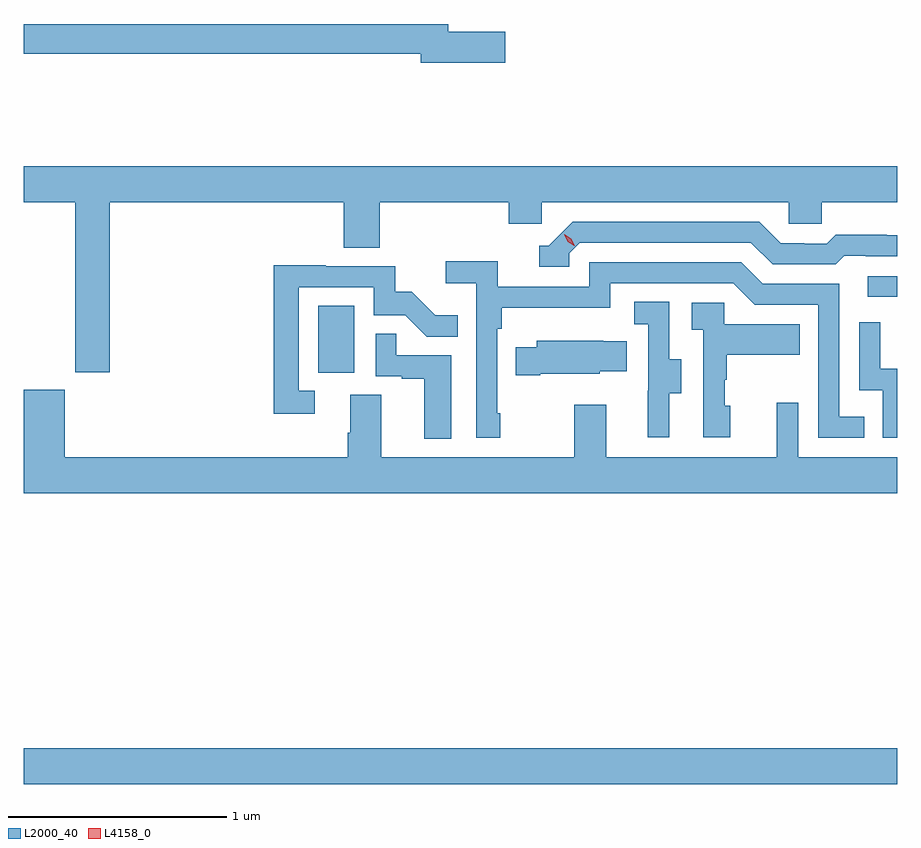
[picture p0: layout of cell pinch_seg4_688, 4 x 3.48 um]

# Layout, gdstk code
import gdstk
lib = gdstk.Library(unit=1e-6, precision=1e-09)
def R(c, l, rs):  # rectangles x0, y0, x1, y1
    for r in rs: c.add(gdstk.rectangle(r[:2], r[2:], *l))
def P(c, l, *ps):  # polygons
    for p in ps: c.add(gdstk.Polygon(p, *l))
L2000_40 = (2000, 40)
L4158_0 = (4158, 0)

pinch_seg4_688 = lib.new_cell('pinch_seg4_688')
R(pinch_seg4_688, L2000_40, [(1078.833,754.196,1082.833,754.36), (1080.182,756.078,1080.346,756.385), (1082.697,756.426,1082.833,756.522)])
P(pinch_seg4_688, L2000_40, [(1081.039,757.64),(1080.778,757.64),(1080.778,757.676),(1078.833,757.676),(1078.833,757.54),(1080.65,757.54),(1080.65,757.498),(1081.039,757.498)],
  [(1079.228,756.86),(1080.299,756.86),(1080.299,756.652),(1080.464,756.652),(1080.464,756.86),(1081.055,756.86),(1081.055,756.762),(1081.206,756.762),(1081.206,756.86),(1082.337,756.86),(1082.337,756.762),(1082.487,756.762),(1082.487,756.86),(1082.833,756.86),(1082.833,757.024),(1078.833,757.024),(1078.833,756.86),(1079.068,756.86),(1079.068,756.081),(1079.228,756.081)],
  [(1081.332,756.627),(1081.38,756.675),(1082.163,756.675),(1082.262,756.576),(1082.551,756.576),(1082.59,756.615),(1082.689,756.615),(1082.689,756.612),(1082.833,756.612),(1082.833,756.709),(1082.784,756.709),(1082.784,756.712),(1082.551,756.712),(1082.509,756.669),(1082.406,756.669),(1082.406,756.672),(1082.299,756.672),(1082.2,756.771),(1081.347,756.771),(1081.236,756.66),(1081.193,756.66),(1081.193,756.564),(1081.332,756.564)],
  [(1081.015,755.893),(1081.002,755.893),(1081.002,756.281),(1081.022,756.281),(1081.022,756.377),(1081.518,756.377),(1081.518,756.489),(1082.082,756.489),(1082.181,756.39),(1082.472,756.39),(1082.472,755.781),(1082.681,755.781),(1082.681,755.877),(1082.568,755.877),(1082.568,756.486),(1082.218,756.486),(1082.119,756.585),(1081.422,756.585),(1081.422,756.474),(1081.004,756.474),(1081.004,756.59),(1080.765,756.59),(1080.765,756.488),(1080.906,756.488),(1080.906,755.781),(1081.015,755.781)],
  [(1080.166,755.997),(1080.093,755.997),(1080.093,756.471),(1080.435,756.471),(1080.435,756.342),(1080.58,756.342),(1080.678,756.244),(1080.821,756.244),(1080.821,756.343),(1080.717,756.343),(1080.61,756.45),(1080.534,756.45),(1080.534,756.567),(1080.215,756.567),(1080.215,756.572),(1079.977,756.572),(1079.977,755.892),(1080.166,755.892)],
  [(1081.789,755.986),(1081.843,755.986),(1081.843,756.141),(1081.788,756.141),(1081.788,756.404),(1081.629,756.404),(1081.629,756.301),(1081.692,756.301),(1081.692,755.997),(1081.691,755.997),(1081.691,755.784),(1081.789,755.784)],
  [(1082.068,755.928),(1082.043,755.928),(1082.043,756.047),(1082.053,756.047),(1082.053,756.161),(1082.387,756.161),(1082.387,756.301),(1082.04,756.301),(1082.04,756.399),(1081.893,756.399),(1081.893,756.275),(1081.944,756.275),(1081.944,755.784),(1082.068,755.784)],
  [(1082.833,756.098),(1082.754,756.098),(1082.754,756.31),(1082.658,756.31),(1082.658,756),(1082.766,756),(1082.766,755.781),(1082.833,755.781)],
  [(1080.79,756.159),(1080.539,756.159),(1080.539,756.257),(1080.444,756.257),(1080.444,756.063),(1080.565,756.063),(1080.565,756.051),(1080.668,756.051),(1080.668,755.777),(1080.79,755.777)],
  [(1081.198,756.074),(1081.47,756.074),(1081.47,756.086),(1081.595,756.086),(1081.595,756.223),(1081.487,756.223),(1081.487,756.226),(1081.181,756.226),(1081.181,756.196),(1081.087,756.196),(1081.087,756.067),(1081.198,756.067)],
  [(1082.833,755.692),(1082.379,755.692),(1082.379,755.941),(1082.282,755.941),(1082.282,755.692),(1081.501,755.692),(1081.501,755.932),(1081.354,755.932),(1081.354,755.692),(1080.469,755.692),(1080.469,755.978),(1080.329,755.978),(1080.329,755.804),(1080.317,755.804),(1080.317,755.692),(1079.02,755.692),(1079.02,756.001),(1078.833,756.001),(1078.833,755.528),(1082.833,755.528)])
P(pinch_seg4_688, L4158_0, [(1081.354,756.66),(1081.324,756.68),(1081.308,756.712),(1081.308,756.713),(1081.309,756.713),(1081.339,756.693),(1081.355,756.66),(1081.355,756.66)])

lib.write_gds('pinch_seg4_688.gds')
